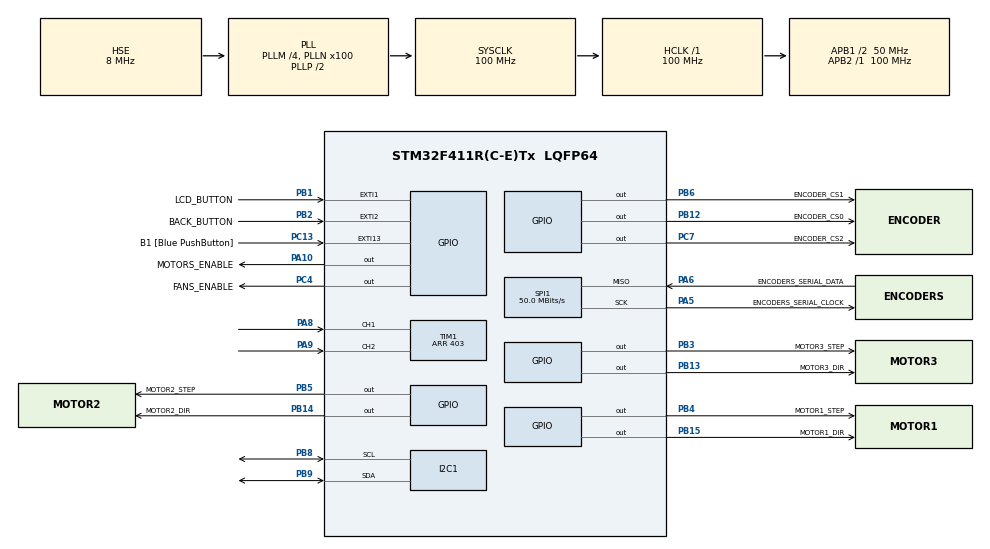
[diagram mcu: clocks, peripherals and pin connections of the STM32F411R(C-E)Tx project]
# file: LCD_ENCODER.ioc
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Mcu.Family=STM32F4
Mcu.Name=STM32F411R(C-E)Tx
Mcu.Package=LQFP64
NVIC.EXTI1_IRQn=true\:0\:0\:false\:false\:true\:true
NVIC.EXTI2_IRQn=true\:0\:0\:false\:false\:true\:true
NVIC.PriorityGroup=NVIC_PRIORITYGROUP_4
NVIC.TIM1_TRG_COM_TIM11_IRQn=true\:0\:0\:false\:false\:true\:true
NVIC.TIM1_UP_TIM10_IRQn=true\:0\:0\:false\:false\:true\:true
PA10.GPIO_Label=MOTORS_ENABLE
PA10.Signal=GPIO_Output
PA2.Signal=USART2_TX
PA3.Signal=USART2_RX
PA5.GPIO_Label=ENCODERS_SERIAL_CLOCK
PA5.Mode=RX_Only_Simplex_Unidirect_Master
PA5.Signal=SPI1_SCK
PA6.GPIO_Label=ENCODERS_SERIAL_DATA
PA6.Mode=RX_Only_Simplex_Unidirect_Master
PA6.Signal=SPI1_MISO
PA8.Signal=S_TIM1_CH1
PA9.Signal=S_TIM1_CH2
PB1.GPIO_Label=LCD_BUTTON
PB1.GPIO_ModeDefaultEXTI=GPIO_MODE_IT_RISING
PB1.GPIO_PuPd=GPIO_NOPULL
PB1.Signal=GPXTI1
PB12.GPIO_Label=ENCODER_CS0
PB12.Signal=GPIO_Output
PB13.GPIO_Label=MOTOR3_DIR
PB13.Signal=GPIO_Output
PB14.GPIO_Label=MOTOR2_DIR
PB14.Signal=GPIO_Output
PB15.GPIO_Label=MOTOR1_DIR
PB15.Signal=GPIO_Output
PB2.GPIO_Label=BACK_BUTTON
PB2.GPIO_PuPd=GPIO_PULLUP
PB2.Signal=GPXTI2
PB3.GPIO_Label=MOTOR3_STEP
PB3.Signal=GPIO_Output
PB4.GPIO_Label=MOTOR1_STEP
PB4.Signal=GPIO_Output
PB5.GPIO_Label=MOTOR2_STEP
PB5.Signal=GPIO_Output
PB6.GPIO_Label=ENCODER_CS1
PB6.PinState=GPIO_PIN_RESET
PB6.Signal=GPIO_Output
PB8.Mode=I2C
PB8.Signal=I2C1_SCL
PB9.Mode=I2C
PB9.Signal=I2C1_SDA
PC13-ANTI_TAMP.GPIO_Label=B1 [Blue PushButton]
PC13-ANTI_TAMP.Signal=GPXTI13
PC14-OSC32_IN.Signal=RCC_OSC32_IN
PC15-OSC32_OUT.Signal=RCC_OSC32_OUT
PC4.GPIO_Label=FANS_ENABLE
PC4.Signal=GPIO_Output
PC7.GPIO_Label=ENCODER_CS2
PC7.PinState=GPIO_PIN_SET
PC7.Signal=GPIO_Output
PH0\ -\ OSC_IN.Mode=HSE-External-Oscillator
PH0\ -\ OSC_IN.Signal=RCC_OSC_IN
PH1\ -\ OSC_OUT.Mode=HSE-External-Oscillator
PH1\ -\ OSC_OUT.Signal=RCC_OSC_OUT
ProjectManager.HeapSize=0x200
ProjectManager.StackSize=0x400
ProjectManager.TargetToolchain=SW4STM32
RCC.48MHZClocksFreq_Value=50000000
RCC.AHBFreq_Value=100000000
RCC.APB1CLKDivider=RCC_HCLK_DIV2
RCC.APB1Freq_Value=50000000
RCC.APB1TimFreq_Value=100000000
RCC.APB2Freq_Value=100000000
RCC.APB2TimFreq_Value=100000000
RCC.CortexFreq_Value=100000000
RCC.HCLKFreq_Value=100000000
RCC.HSE_VALUE=8000000
RCC.HSI_VALUE=16000000
RCC.LSE_VALUE=32768
RCC.PLLM=4
RCC.PLLN=100
RCC.PLLSourceVirtual=RCC_PLLSOURCE_HSE
RCC.SYSCLKFreq_VALUE=100000000
RCC.SYSCLKSource=RCC_SYSCLKSOURCE_PLLCLK
RCC.VCOOutputFreq_Value=200000000
SH.S_TIM1_CH1.0=TIM1_CH1,Encoder_Interface
SH.S_TIM1_CH2.0=TIM1_CH2,Encoder_Interface
SPI1.BaudRatePrescaler=SPI_BAUDRATEPRESCALER_2
SPI1.CalculateBaudRate=50.0 MBits/s
SPI1.Direction=SPI_DIRECTION_2LINES_RXONLY
SPI1.Mode=SPI_MODE_MASTER
SPI1.VirtualType=VM_MASTER
TIM1.EncoderMode=TIM_ENCODERMODE_TI12
TIM1.IC1Filter=15
TIM1.IC2Filter=15
TIM1.Period=403
TIM10.Period=20
TIM10.Prescaler=15999
VP_TIM10_VS_ClockSourceINT.Mode=Enable_Timer
board=LCD_ENCODER

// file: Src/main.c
/**
  ******************************************************************************
  * File Name          : main.c
  * Description        : Main program body
  ******************************************************************************
  ** This notice applies to any and all portions of this file
  * that are not between comment pairs USER CODE BEGIN and
  * USER CODE END. Other portions of this file, whether
  * inserted by the user or by software development tools
  * are owned by their respective copyright owners.
  *
  * COPYRIGHT(c) 2018 STMicroelectronics
  *
  * Redistribution and use in source and binary forms, with or without modification,
  * are permitted provided that the following conditions are met:
  *   1. Redistributions of source code must retain the above copyright notice,
  *      this list of conditions and the following disclaimer.
  *   2. Redistributions in binary form must reproduce the above copyright notice,
  *      this list of conditions and the following disclaimer in the documentation
  *      and/or other materials provided with the distribution.
  *   3. Neither the name of STMicroelectronics nor the names of its contributors
  *      may be used to endorse or promote products derived from this software
  *      without specific prior written permission.
  *
  * THIS SOFTWARE IS PROVIDED BY THE COPYRIGHT HOLDERS AND CONTRIBUTORS "AS IS"
  * AND ANY EXPRESS OR IMPLIED WARRANTIES, INCLUDING, BUT NOT LIMITED TO, THE
  * IMPLIED WARRANTIES OF MERCHANTABILITY AND FITNESS FOR A PARTICULAR PURPOSE ARE
  * DISCLAIMED. IN NO EVENT SHALL THE COPYRIGHT HOLDER OR CONTRIBUTORS BE LIABLE
  * FOR ANY DIRECT, INDIRECT, INCIDENTAL, SPECIAL, EXEMPLARY, OR CONSEQUENTIAL
  * DAMAGES (INCLUDING, BUT NOT LIMITED TO, PROCUREMENT OF SUBSTITUTE GOODS OR
  * SERVICES; LOSS OF USE, DATA, OR PROFITS; OR BUSINESS INTERRUPTION) HOWEVER
  * CAUSED AND ON ANY THEORY OF LIABILITY, WHETHER IN CONTRACT, STRICT LIABILITY,
  * OR TORT (INCLUDING NEGLIGENCE OR OTHERWISE) ARISING IN ANY WAY OUT OF THE USE
  * OF THIS SOFTWARE, EVEN IF ADVISED OF THE POSSIBILITY OF SUCH DAMAGE.
  *
  ******************************************************************************
  */

#include "main.h"
#include "stm32f4xx_hal.h"

/* USER CODE BEGIN Includes */
#include <stdbool.h>
#include "hd44780.h"
#include "MenuAndSubMenu.h"
#include "pcf8574.h"
/* USER CODE END Includes */

I2C_HandleTypeDef hi2c1;

SPI_HandleTypeDef hspi1;

TIM_HandleTypeDef htim1;
TIM_HandleTypeDef htim10;

/* USER CODE BEGIN PV */
/* Private variables ---------------------------------------------------------*/
LCD_PCF8574_HandleTypeDef lcd;
volatile uint16_t pulse_count; // Licznik impulsow TRZEBA PODPIAC D8 (A) i D7 (B)
volatile uint16_t positions;   // Licznik przekreconych pozycji
volatile uint16_t valueToSet = 0; // wartosc do ustawienia
bool isPressed=0;      // zmienna informujaca czy przycisk zostal wcisniety 1 - tak , 0 - nie
bool backPressed=0;    // 1 - wcisnieto przycisk powrotu
bool flag1=0, flag2=0; // zmienne do usuwania zjawiska drgan na stkach przyciskow
/* USER CODE END PV */

void SystemClock_Config(void);
static void MX_GPIO_Init(void);
static void MX_I2C1_Init(void);
static void MX_TIM1_Init(void);
static void MX_SPI1_Init(void);
static void MX_TIM10_Init(void);

/* USER CODE BEGIN PFP */
/* Private function prototypes -----------------------------------------------*/
void HAL_GPIO_EXTI_Callback(uint16_t GPIO_Pin){ // obsluga przycisku enkodera oraz przycisku powrotu
	if(flag2 == 1) return; // przerwanie zostalo wywolane zbyt szybko po wystapieniu poprzedniego - drgania
	if(GPIO_Pin == LCD_BUTTON_Pin)
	{
		isPressed = 1;
	}
	if(GPIO_Pin == BACK_BUTTON_Pin)
	{
		backPressed = 1;
	}

	flag1 = 1; flag2 = 1; //ustawianie flag informujacych o tym ze przed chwila zostalo wywolane przerwanie
}

void HAL_TIM_PeriodElapsedCallback(TIM_HandleTypeDef *htim){ // przerwania timera generowane sa co 20ms
	if(htim->Instance == TIM10){
		if(flag1 == 1) flag1 = 0;  // zerowanie pierwszej flagi
		else flag2 = 0; // zerowanie drugiej flagi - uplynela odpowiednia ilosc czasu (20 - 40ms)
	}
}
void LCD_Setup();
/* USER CODE END PFP */

int main(void)
{

  /* MCU Configuration----------------------------------------------------------*/

  /* Reset of all peripherals, Initializes the Flash interface and the Systick. */
  HAL_Init();

  /* Configure the system clock */
  SystemClock_Config();

  /* Initialize all configured peripherals */
  MX_GPIO_Init();
  MX_I2C1_Init();
  MX_TIM1_Init();
  MX_SPI1_Init();
  MX_TIM10_Init();

  /* USER CODE BEGIN 2 */
  HAL_TIM_Encoder_Start(&htim1, TIM_CHANNEL_ALL);
  HAL_TIM_Base_Start_IT(&htim10);

  LCD_Setup();
  if(LCD_Init(&lcd)!=LCD_OK){
	  // error occured
	  while(1);
  }

  LCD_ClearDisplay(&lcd);

  menu mainMenu = stworzMenu(); // stworzenie menu
 // TIM1->CNT= 0; // nie jestem pewien czy powinno sie tak robić ale bardzo przydatna jest taka operacja
  	  	  	  	  // do poruszania sie po menu, w sumie mam pomysl jak to obejsc za pomoca jakiejs zmiennej
  	  	  	  	  // ale jesli takie przypisanie jest w porzadku to nie wiem czy jest potrzeba zmieniac
  /* USER CODE END 2 */

  /* Infinite loop */
  /* USER CODE BEGIN WHILE */
  while (1)
  {
	  pulse_count = TIM1->CNT;   // przepisanie wartosci z rejestru timera
	  positions = pulse_count/4; // zeskalowanie impulsow do liczby stabilnych pozycji walu enkodera

	 	  switch( positions % 5)
	 	  {
	 	  case 0 :
	 		 mainMenu.zaprogram(&lcd);
	 	      break;
	 	  case 1 :
	 		  mainMenu.tryb(&lcd);
	 	      break;
	 	  case 2 :
	 		  mainMenu.adjust(&lcd);
	 	  	  break;
	 	  case 3:
	 		  mainMenu.hold(&lcd);
	 		  break;
	 	  case 4 :
	 		  mainMenu.zamknij(&lcd);
	 		  break;
	 	  }
	 	 isPressed = 0; // nie da sie wejsc do niektorych pozycji menu a zapamietywanie wcisniecia jest w tym wypadku niepozadane
	 	 backPressed = 0;
  /* USER CODE END WHILE */

  }

}

/** System Clock Configuration
*/
void SystemClock_Config(void)
{

  RCC_OscInitTypeDef RCC_OscInitStruct;
  RCC_ClkInitTypeDef RCC_ClkInitStruct;

    /**Configure the main internal regulator output voltage
    */
  __HAL_RCC_PWR_CLK_ENABLE();

  __HAL_PWR_VOLTAGESCALING_CONFIG(PWR_REGULATOR_VOLTAGE_SCALE1);

    /**Initializes the CPU, AHB and APB busses clocks
    */
  RCC_OscInitStruct.OscillatorType = RCC_OSCILLATORTYPE_HSE;
  RCC_OscInitStruct.HSEState = RCC_HSE_ON;
  RCC_OscInitStruct.PLL.PLLState = RCC_PLL_ON;
  RCC_OscInitStruct.PLL.PLLSource = RCC_PLLSOURCE_HSE;
  RCC_OscInitStruct.PLL.PLLM = 4;
  RCC_OscInitStruct.PLL.PLLN = 100;
  RCC_OscInitStruct.PLL.PLLP = RCC_PLLP_DIV2;
  RCC_OscInitStruct.PLL.PLLQ = 4;
  if (HAL_RCC_OscConfig(&RCC_OscInitStruct) != HAL_OK)
  {
    _Error_Handler(__FILE__, __LINE__);
  }

    /**Initializes the CPU, AHB and APB busses clocks
    */
  RCC_ClkInitStruct.ClockType = RCC_CLOCKTYPE_HCLK|RCC_CLOCKTYPE_SYSCLK
                              |RCC_CLOCKTYPE_PCLK1|RCC_CLOCKTYPE_PCLK2;
  RCC_ClkInitStruct.SYSCLKSource = RCC_SYSCLKSOURCE_PLLCLK;
  RCC_ClkInitStruct.AHBCLKDivider = RCC_SYSCLK_DIV1;
  RCC_ClkInitStruct.APB1CLKDivider = RCC_HCLK_DIV2;
  RCC_ClkInitStruct.APB2CLKDivider = RCC_HCLK_DIV1;

  if (HAL_RCC_ClockConfig(&RCC_ClkInitStruct, FLASH_LATENCY_3) != HAL_OK)
  {
    _Error_Handler(__FILE__, __LINE__);
  }

    /**Configure the Systick interrupt time
    */
  HAL_SYSTICK_Config(HAL_RCC_GetHCLKFreq()/1000);

    /**Configure the Systick
    */
  HAL_SYSTICK_CLKSourceConfig(SYSTICK_CLKSOURCE_HCLK);

  /* SysTick_IRQn interrupt configuration */
  HAL_NVIC_SetPriority(SysTick_IRQn, 0, 0);
}

/* I2C1 init function */
static void MX_I2C1_Init(void)
{

  hi2c1.Instance = I2C1;
  hi2c1.Init.ClockSpeed = 100000;
  hi2c1.Init.DutyCycle = I2C_DUTYCYCLE_2;
  hi2c1.Init.OwnAddress1 = 0;
  hi2c1.Init.AddressingMode = I2C_ADDRESSINGMODE_7BIT;
  hi2c1.Init.DualAddressMode = I2C_DUALADDRESS_DISABLE;
  hi2c1.Init.OwnAddress2 = 0;
  hi2c1.Init.GeneralCallMode = I2C_GENERALCALL_DISABLE;
  hi2c1.Init.NoStretchMode = I2C_NOSTRETCH_DISABLE;
  if (HAL_I2C_Init(&hi2c1) != HAL_OK)
  {
    _Error_Handler(__FILE__, __LINE__);
  }

}

/* SPI1 init function */
static void MX_SPI1_Init(void)
{

  /* SPI1 parameter configuration*/
  hspi1.Instance = SPI1;
  hspi1.Init.Mode = SPI_MODE_MASTER;
  hspi1.Init.Direction = SPI_DIRECTION_2LINES_RXONLY;
  hspi1.Init.DataSize = SPI_DATASIZE_8BIT;
  hspi1.Init.CLKPolarity = SPI_POLARITY_LOW;
  hspi1.Init.CLKPhase = SPI_PHASE_1EDGE;
  hspi1.Init.NSS = SPI_NSS_SOFT;
  hspi1.Init.BaudRatePrescaler = SPI_BAUDRATEPRESCALER_2;
  hspi1.Init.FirstBit = SPI_FIRSTBIT_MSB;
  hspi1.Init.TIMode = SPI_TIMODE_DISABLE;
  hspi1.Init.CRCCalculation = SPI_CRCCALCULATION_DISABLE;
  hspi1.Init.CRCPolynomial = 10;
  if (HAL_SPI_Init(&hspi1) != HAL_OK)
  {
    _Error_Handler(__FILE__, __LINE__);
  }

}

/* TIM1 init function */
static void MX_TIM1_Init(void)
{

  TIM_Encoder_InitTypeDef sConfig;
  TIM_MasterConfigTypeDef sMasterConfig;

  htim1.Instance = TIM1;
  htim1.Init.Prescaler = 0;
  htim1.Init.CounterMode = TIM_COUNTERMODE_DOWN;
  htim1.Init.Period = 403;
  htim1.Init.ClockDivision = TIM_CLOCKDIVISION_DIV1;
  htim1.Init.RepetitionCounter = 0;
  sConfig.EncoderMode = TIM_ENCODERMODE_TI12;
  sConfig.IC1Polarity = TIM_ICPOLARITY_RISING;
  sConfig.IC1Selection = TIM_ICSELECTION_DIRECTTI;
  sConfig.IC1Prescaler = TIM_ICPSC_DIV1;
  sConfig.IC1Filter = 15;
  sConfig.IC2Polarity = TIM_ICPOLARITY_RISING;
  sConfig.IC2Selection = TIM_ICSELECTION_DIRECTTI;
  sConfig.IC2Prescaler = TIM_ICPSC_DIV1;
  sConfig.IC2Filter = 15;
  if (HAL_TIM_Encoder_Init(&htim1, &sConfig) != HAL_OK)
  {
    _Error_Handler(__FILE__, __LINE__);
  }

  sMasterConfig.MasterOutputTrigger = TIM_TRGO_RESET;
  sMasterConfig.MasterSlaveMode = TIM_MASTERSLAVEMODE_DISABLE;
  if (HAL_TIMEx_MasterConfigSynchronization(&htim1, &sMasterConfig) != HAL_OK)
  {
    _Error_Handler(__FILE__, __LINE__);
  }

}

/* TIM10 init function */
static void MX_TIM10_Init(void)
{

  htim10.Instance = TIM10;
  htim10.Init.Prescaler = 1999;
  htim10.Init.CounterMode = TIM_COUNTERMODE_UP;
  htim10.Init.Period = 999;
  htim10.Init.ClockDivision = TIM_CLOCKDIVISION_DIV1;
  if (HAL_TIM_Base_Init(&htim10) != HAL_OK)
  {
    _Error_Handler(__FILE__, __LINE__);
  }

}

/** Configure pins as
        * Analog
        * Input
        * Output
        * EVENT_OUT
        * EXTI
     PA2   ------> USART2_TX
     PA3   ------> USART2_RX
*/
static void MX_GPIO_Init(void)
{

  GPIO_InitTypeDef GPIO_InitStruct;

  /* GPIO Ports Clock Enable */
  __HAL_RCC_GPIOC_CLK_ENABLE();
  __HAL_RCC_GPIOH_CLK_ENABLE();
  __HAL_RCC_GPIOA_CLK_ENABLE();
  __HAL_RCC_GPIOB_CLK_ENABLE();

  /*Configure GPIO pin Output Level */
  HAL_GPIO_WritePin(FANS_ENABLE_GPIO_Port, FANS_ENABLE_Pin, GPIO_PIN_RESET);

  /*Configure GPIO pin Output Level */
  HAL_GPIO_WritePin(GPIOB, ENCODER_CS0_Pin|MOTOR3_DIR_Pin|MOTOR2_DIR_Pin|MOTOR1_DIR_Pin
                          |MOTOR3_STEP_Pin|MOTOR1_STEP_Pin|MOTOR2_STEP_Pin|ENCODER_CS1_Pin, GPIO_PIN_RESET);

  /*Configure GPIO pin Output Level */
  HAL_GPIO_WritePin(ENCODER_CS2_GPIO_Port, ENCODER_CS2_Pin, GPIO_PIN_SET);

  /*Configure GPIO pin Output Level */
  HAL_GPIO_WritePin(MOTORS_ENABLE_GPIO_Port, MOTORS_ENABLE_Pin, GPIO_PIN_RESET);

  /*Configure GPIO pin : B1_Pin */
  GPIO_InitStruct.Pin = B1_Pin;
  GPIO_InitStruct.Mode = GPIO_MODE_IT_RISING;
  GPIO_InitStruct.Pull = GPIO_NOPULL;
  HAL_GPIO_Init(B1_GPIO_Port, &GPIO_InitStruct);

  /*Configure GPIO pins : PA2 PA3 */
  GPIO_InitStruct.Pin = GPIO_PIN_2|GPIO_PIN_3;
  GPIO_InitStruct.Mode = GPIO_MODE_AF_PP;
  GPIO_InitStruct.Pull = GPIO_NOPULL;
  GPIO_InitStruct.Speed = GPIO_SPEED_FREQ_VERY_HIGH;
  GPIO_InitStruct.Alternate = GPIO_AF7_USART2;
  HAL_GPIO_Init(GPIOA, &GPIO_InitStruct);

  /*Configure GPIO pins : FANS_ENABLE_Pin ENCODER_CS2_Pin */
  GPIO_InitStruct.Pin = FANS_ENABLE_Pin|ENCODER_CS2_Pin;
  GPIO_InitStruct.Mode = GPIO_MODE_OUTPUT_PP;
  GPIO_InitStruct.Pull = GPIO_NOPULL;
  GPIO_InitStruct.Speed = GPIO_SPEED_FREQ_LOW;
  HAL_GPIO_Init(GPIOC, &GPIO_InitStruct);

  /*Configure GPIO pin : LCD_BUTTON_Pin */
  GPIO_InitStruct.Pin = LCD_BUTTON_Pin;
  GPIO_InitStruct.Mode = GPIO_MODE_IT_RISING;
  GPIO_InitStruct.Pull = GPIO_NOPULL;
  HAL_GPIO_Init(LCD_BUTTON_GPIO_Port, &GPIO_InitStruct);

  /*Configure GPIO pin : BACK_BUTTON_Pin */
  GPIO_InitStruct.Pin = BACK_BUTTON_Pin;
  GPIO_InitStruct.Mode = GPIO_MODE_IT_RISING;
  GPIO_InitStruct.Pull = GPIO_PULLUP;
  HAL_GPIO_Init(BACK_BUTTON_GPIO_Port, &GPIO_InitStruct);

  /*Configure GPIO pins : ENCODER_CS0_Pin MOTOR3_DIR_Pin MOTOR2_DIR_Pin MOTOR1_DIR_Pin
                           MOTOR3_STEP_Pin MOTOR1_STEP_Pin MOTOR2_STEP_Pin ENCODER_CS1_Pin */
  GPIO_InitStruct.Pin = ENCODER_CS0_Pin|MOTOR3_DIR_Pin|MOTOR2_DIR_Pin|MOTOR1_DIR_Pin
                          |MOTOR3_STEP_Pin|MOTOR1_STEP_Pin|MOTOR2_STEP_Pin|ENCODER_CS1_Pin;
  GPIO_InitStruct.Mode = GPIO_MODE_OUTPUT_PP;
  GPIO_InitStruct.Pull = GPIO_NOPULL;
  GPIO_InitStruct.Speed = GPIO_SPEED_FREQ_LOW;
  HAL_GPIO_Init(GPIOB, &GPIO_InitStruct);

  /*Configure GPIO pin : MOTORS_ENABLE_Pin */
  GPIO_InitStruct.Pin = MOTORS_ENABLE_Pin;
  GPIO_InitStruct.Mode = GPIO_MODE_OUTPUT_PP;
  GPIO_InitStruct.Pull = GPIO_NOPULL;
  GPIO_InitStruct.Speed = GPIO_SPEED_FREQ_LOW;
  HAL_GPIO_Init(MOTORS_ENABLE_GPIO_Port, &GPIO_InitStruct);

  /* EXTI interrupt init*/
  HAL_NVIC_SetPriority(EXTI1_IRQn, 0, 0);
  HAL_NVIC_EnableIRQ(EXTI1_IRQn);

  HAL_NVIC_SetPriority(EXTI2_IRQn, 0, 0);
  HAL_NVIC_EnableIRQ(EXTI2_IRQn);

}

/* USER CODE BEGIN 4 */
void LCD_Setup()
{
   lcd.pcf8574.PCF_I2C_ADDRESS = 7;
   lcd.pcf8574.PCF_I2C_TIMEOUT = 1000;
   lcd.pcf8574.i2c.Instance = I2C1;
   lcd.pcf8574.i2c.Init.ClockSpeed = 100000;
   lcd.NUMBER_OF_LINES = NUMBER_OF_LINES_2;
   lcd.type = TYPE0;
}
/* USER CODE END 4 */

void _Error_Handler(char * file, int line)
{
  while(1)
  {
  }
}

/************************ (C) COPYRIGHT STMicroelectronics *****END OF FILE****/
